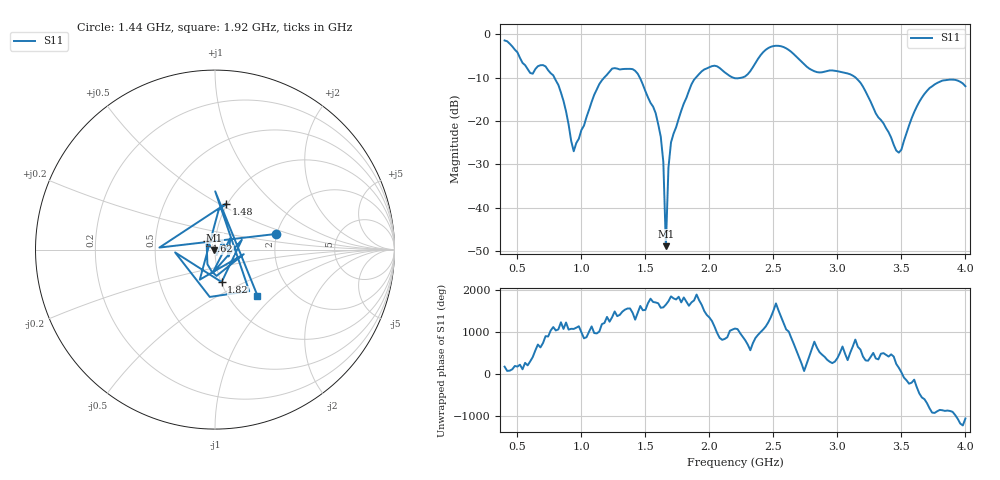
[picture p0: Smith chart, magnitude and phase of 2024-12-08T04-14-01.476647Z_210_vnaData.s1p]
!Created with skrf (http://scikit-rf.org).
# Hz S RI R 50.0
!freq ReS11 ImS11
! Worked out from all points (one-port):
!   181 points, 400 MHz to 4 GHz, reference 50 ohm
!   lowest |S11| = -48.9 dB at 1.66 GHz (marker M1), VSWR 1.01, Z = 49.7 - j0.176 ohm
!   |S11| at or under -10 dB: 789.5 MHz to 1.178 GHz (388.1 MHz wide, 39.5 % of centre); 1.457 GHz to 1.893 GHz (436.5 MHz wide, 26.1 % of centre); 3.143 GHz to end of sweep (the widest 3 of 4)
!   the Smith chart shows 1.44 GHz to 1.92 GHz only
!   S11 on the Smith chart (normalised r, x): 1.44 GHz: 1.98, +0.39; 1.48 GHz: 0.99, +0.54; 1.62 GHz: 0.91, +0.08; 1.82 GHz: 1.01, -0.38; 1.92 GHz: 1.35, -0.79
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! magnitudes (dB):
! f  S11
! 400 MHz  -1.4
! 600 MHz  -8.9
! 720 MHz  -7.4
! 860 MHz  -15.3
! 940 MHz  -27.0
! 1.14 GHz  -11.5
! 1.3 GHz  -8.1
! 1.44 GHz  -9.1
! 1.48 GHz  -11.6
! 1.62 GHz  -23.6
! 1.64 GHz  -29.4
! 1.66 GHz  -48.9
! 1.68 GHz  -30.8
! 1.7 GHz  -24.9
! 1.76 GHz  -19.5
! 1.82 GHz  -14.7
! 1.92 GHz  -9.1
! 2.04 GHz  -7.2
! 2.2 GHz  -10.1
! 2.48 GHz  -2.9
! 2.66 GHz  -4.6
! 2.82 GHz  -8.5
! 3.1 GHz  -9.2
! 3.46 GHz  -26.8
! 3.5 GHz  -26.6
! 3.56 GHz  -21.0
! 3.76 GHz  -11.5
! 4 GHz  -12.0
